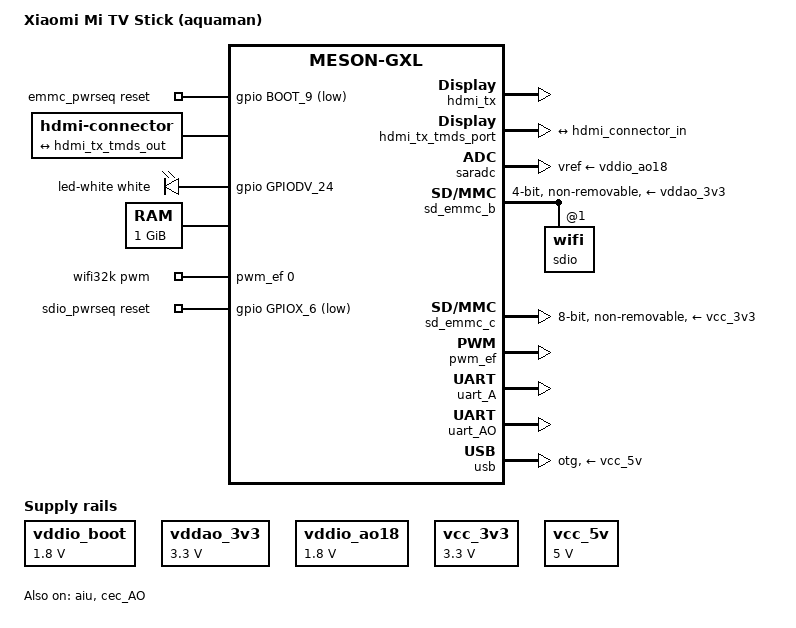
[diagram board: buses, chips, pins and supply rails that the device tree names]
// SPDX-License-Identifier: (GPL-2.0+ OR MIT)
/*
 * Copyright (c) 2025 Ferass El Hafidi <funderscore@postmarketos.org>
 * Heavily based on meson-gxl-s805x-p241.dtb:
 *  - Copyright (c) 2018 BayLibre, SAS.
 *    Author: Neil Armstrong <narmstrong@baylibre.com>
 *    Author: Jerome Brunet <jbrunet@baylibre.com>
 */

/dts-v1/;

#include <dt-bindings/input/input.h>
#include <dt-bindings/leds/common.h>
#include <dt-bindings/sound/meson-aiu.h>

#include "meson-gxl-s805y.dtsi"

/ {
	compatible = "xiaomi,aquaman", "amlogic,s805y", "amlogic,meson-gxl";
	model = "Xiaomi Mi TV Stick (aquaman)";

	aliases {
		serial0 = &uart_AO;
		serial1 = &uart_A;
	};

	chosen {
		stdout-path = "serial0:115200n8";
	};

	emmc_pwrseq: emmc-pwrseq {
		compatible = "mmc-pwrseq-emmc";
		reset-gpios = <&gpio BOOT_9 GPIO_ACTIVE_LOW>;
	};

	hdmi-connector {
		compatible = "hdmi-connector";
		type = "a";

		port {
			hdmi_connector_in: endpoint {
				remote-endpoint = <&hdmi_tx_tmds_out>;
			};
		};
	};

	leds {
		compatible = "gpio-leds";

		led-white {
			color = <LED_COLOR_ID_WHITE>;
			function = LED_FUNCTION_POWER;
			gpios = <&gpio GPIODV_24 GPIO_ACTIVE_HIGH>;
			default-state = "on";
			panic-indicator;
		};
	};

	memory@0 {
		device_type = "memory";
		reg = <0x0 0x0 0x0 0x40000000>;
	};

	vddio_boot: regulator-vddio-boot {
		compatible = "regulator-fixed";
		regulator-name = "VDDIO_BOOT";
		regulator-min-microvolt = <1800000>;
		regulator-max-microvolt = <1800000>;
	};

	vddao_3v3: regulator-vddao-3v3 {
		compatible = "regulator-fixed";
		regulator-name = "VDDAO_3V3";
		regulator-min-microvolt = <3300000>;
		regulator-max-microvolt = <3300000>;
	};

	vddio_ao18: regulator-vddio-ao18 {
		compatible = "regulator-fixed";
		regulator-name = "VDDIO_AO18";
		regulator-min-microvolt = <1800000>;
		regulator-max-microvolt = <1800000>;
	};

	vcc_3v3: regulator-vcc-3v3 {
		compatible = "regulator-fixed";
		regulator-name = "VCC_3V3";
		regulator-min-microvolt = <3300000>;
		regulator-max-microvolt = <3300000>;
	};

	vcc_5v: regulator-vcc-5v {
		compatible = "regulator-fixed";
		regulator-name = "VCC_5V";
		regulator-min-microvolt = <5000000>;
		regulator-max-microvolt = <5000000>;
	};

	emmc_pwrseq: emmc-pwrseq {
		compatible = "mmc-pwrseq-emmc";
		reset-gpios = <&gpio BOOT_9 GPIO_ACTIVE_LOW>;
	};

	wifi32k: wifi32k {
		compatible = "pwm-clock";
		#clock-cells = <0>;
		clock-frequency = <32768>;
		pwms = <&pwm_ef 0 30518 0>; /* PWM_E at 32.768KHz */
	};

	sdio_pwrseq: sdio-pwrseq {
		compatible = "mmc-pwrseq-simple";
		reset-gpios = <&gpio GPIOX_6 GPIO_ACTIVE_LOW>;
		clocks = <&wifi32k>;
		clock-names = "ext_clock";
	};

	sound {
		compatible = "amlogic,gx-sound-card";
		model = "XIAOMI-AQUAMAN";
		clocks = <&clkc CLKID_MPLL0>,
			 <&clkc CLKID_MPLL1>,
			 <&clkc CLKID_MPLL2>;

		assigned-clocks = <&clkc CLKID_MPLL0>,
				  <&clkc CLKID_MPLL1>,
				  <&clkc CLKID_MPLL2>;
		assigned-clock-parents = <0>, <0>, <0>;
		assigned-clock-rates = <294912000>,
				       <270950400>,
				       <393216000>;

		dai-link-0 {
			sound-dai = <&aiu AIU_CPU CPU_I2S_FIFO>;
		};

		dai-link-1 {
			sound-dai = <&aiu AIU_CPU CPU_I2S_ENCODER>;
			dai-format = "i2s";
			mclk-fs = <256>;

			codec-0 {
				sound-dai = <&aiu AIU_HDMI CTRL_I2S>;
			};
		};

		dai-link-2 {
			sound-dai = <&aiu AIU_HDMI CTRL_OUT>;

			codec-0 {
				sound-dai = <&hdmi_tx>;
			};
		};
	};
};

&aiu {
	status = "okay";
};

&cec_AO {
	status = "okay";
	pinctrl-0 = <&ao_cec_pins>;
	pinctrl-names = "default";
	hdmi-phandle = <&hdmi_tx>;
};

&hdmi_tx {
	status = "okay";
	pinctrl-0 = <&hdmi_hpd_pins>, <&hdmi_i2c_pins>;
	pinctrl-names = "default";
	hdmi-supply = <&vcc_5v>;
};

&hdmi_tx_tmds_port {
	hdmi_tx_tmds_out: endpoint {
		remote-endpoint = <&hdmi_connector_in>;
	};
};

&saradc {
	status = "okay";
	vref-supply = <&vddio_ao18>;
};

/* Wireless SDIO Module (Amlogic W155S1 / Realtek RTL8821CS) */
&sd_emmc_b {
	status = "okay";
	pinctrl-0 = <&sdio_pins>;
	pinctrl-1 = <&sdio_clk_gate_pins>;
	pinctrl-names = "default", "clk-gate";
	#address-cells = <1>;
	#size-cells = <0>;

	bus-width = <4>;
	cap-sd-highspeed;
	max-frequency = <50000000>;

	non-removable;
	disable-wp;

	/* WiFi firmware requires power to be kept while in suspend */
	keep-power-in-suspend;

	mmc-pwrseq = <&sdio_pwrseq>;

	vmmc-supply = <&vddao_3v3>;
	vqmmc-supply = <&vddio_boot>;

	sdio: wifi@1 {
		reg = <1>;
	};
};

/* eMMC */
&sd_emmc_c {
	status = "okay";
	pinctrl-0 = <&emmc_pins>, <&emmc_ds_pins>;
	pinctrl-1 = <&emmc_clk_gate_pins>;
	pinctrl-names = "default", "clk-gate";

	bus-width = <8>;
	cap-mmc-highspeed;
	max-frequency = <200000000>;
	non-removable;
	disable-wp;
	mmc-ddr-1_8v;
	mmc-hs200-1_8v;

	mmc-pwrseq = <&emmc_pwrseq>;
	vmmc-supply = <&vcc_3v3>;
	vqmmc-supply = <&vddio_boot>;
};

&pwm_ef {
	status = "okay";
	pinctrl-0 = <&pwm_e_pins>;
	pinctrl-names = "default";
};

/*
 * This is connected to the Bluetooth module
 * Note: There's no driver for the Bluetooth module of some variants yet.
 */
&uart_A {
	status = "okay";
	pinctrl-0 = <&uart_a_pins>, <&uart_a_cts_rts_pins>;
	pinctrl-names = "default";
	uart-has-rtscts;
};

&uart_AO {
	status = "okay";
	pinctrl-0 = <&uart_ao_a_pins>;
	pinctrl-names = "default";
};

&usb {
	status = "okay";
	dr_mode = "otg";
	vbus-supply = <&vcc_5v>;
};
